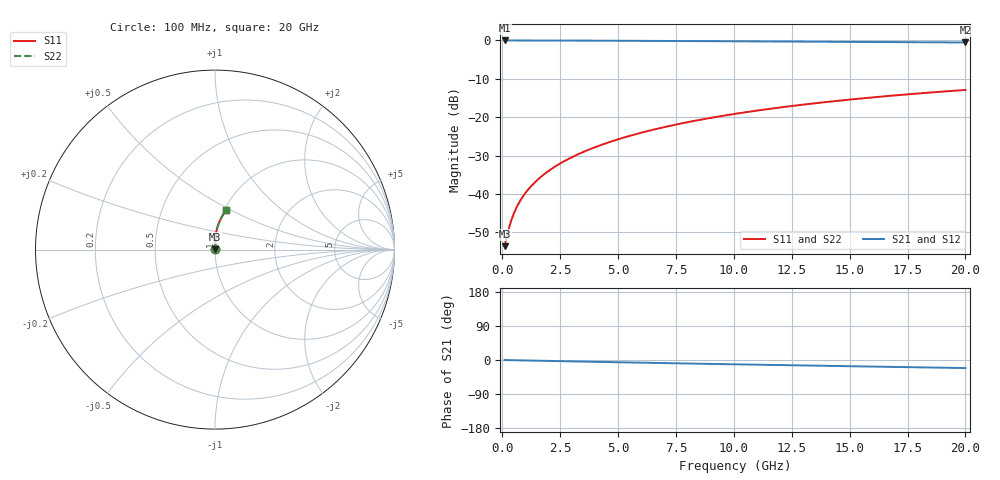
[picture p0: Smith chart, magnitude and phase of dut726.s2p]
! Touchstone file exported from HFSS 2024.1.0
!  File:  C:/UserFiles/LocalFiles/RDL_TSV_Batchsim/temp_RDL_top_726_1779850816.aedt
!  Generated:  11:02:57 AM May 27, 2026
!  Design:  RDL_top
!  Project:  temp_RDL_top_726_1779850816
!  Setup:  Setup1
!  Solution:  Sweep
! Variables:
!  dtsv = 10.80580581um
!  hbump = 3um
!  htsv = 90.1um
!  ldown = 100um
!  lrdl = 260.37um
!  p = 40
!  p1 = 52.23um
!  rhole = 1um
!  t = 450um
!  tdown = 3.915915916um
!  trdl = 2.64um
!  wdown = 15.38538539um
!  wrdl = 23.68um
# GHz S MA R 50.000000
! Terminal data exported
! Port[1] = Box2_T1
! Port[2] = Box2_T2
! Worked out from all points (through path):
!   200 points, 100 MHz to 20 GHz, reference 50 ohm
!   highest |S21| = -0.02 dB at 100 MHz (marker M1); lowest = -0.5 dB at 20 GHz (marker M2)
!   group delay of S21, straight-line fit = 2.92 ps
!   lowest |S11| = -53.6 dB at 100 MHz (marker M3), VSWR 1.00, Z = 50.2 + j0.109 ohm
!   |S11| at or under -10 dB: start of sweep to end of sweep
!   |S22| runs from -53.6 to -12.9 dB; largest |S21 - S12| = 3.4e-15
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0.1  0.002088 31.2  0.9982 -0.1  0.9982 -0.1  0.002088 31.2
! Gamma 0 0 0 0
! Port Impedance 50 0 50 0
0.2  0.002821 49.6  0.9981 -0.3  0.9981 -0.3  0.002821 49.6
0.3  0.003707 59.4  0.9981 -0.4  0.9981 -0.4  0.003707 59.4
0.4  0.004639 65.2  0.998 -0.5  0.998 -0.5  0.004639 65.2
0.5  0.00558 68.9  0.9979 -0.6  0.9979 -0.6  0.005581 68.9
0.6  0.006523 71.6  0.9978 -0.8  0.9978 -0.8  0.006523 71.6
0.8  0.008406 75.4  0.9976 -1.0  0.9976 -1.0  0.008407 75.4
1.1  0.01124 79.0  0.9973 -1.4  0.9973 -1.4  0.01124 79.0
1.3  0.01315 80.6  0.9971 -1.6  0.9971 -1.6  0.01315 80.6
1.6  0.01605 82.4  0.9967 -2.0  0.9967 -2.0  0.01605 82.4
2.1  0.02095 84.5  0.996 -2.6  0.996 -2.6  0.02095 84.5
2.7  0.02698 86.0  0.995 -3.3  0.995 -3.3  0.02698 86.0
3.5  0.03525 87.2  0.9933 -4.2  0.9933 -4.2  0.03525 87.2
4.2  0.0427 87.7  0.9916 -5.1  0.9916 -5.1  0.0427 87.8
5  0.05145 88.0  0.9894 -6.0  0.9894 -6.0  0.05145 88.0
5.9  0.06157 88.0  0.9867 -7.0  0.9867 -7.0  0.06157 88.0
6.8  0.07192 87.6  0.9839 -8.0  0.9839 -8.0  0.07192 87.6
8.4  0.09075 86.6  0.9787 -9.7  0.9787 -9.7  0.09075 86.6
10.1  0.1111 85.1  0.9731 -11.5  0.9731 -11.5  0.1111 85.1
13.4  0.1506 81.6  0.9621 -14.8  0.9621 -14.8  0.1506 81.6
16.7  0.1892 77.9  0.951 -18.1  0.951 -18.1  0.1892 77.9
20  0.2264 74.3  0.9396 -21.3  0.9396 -21.3  0.2264 74.3
